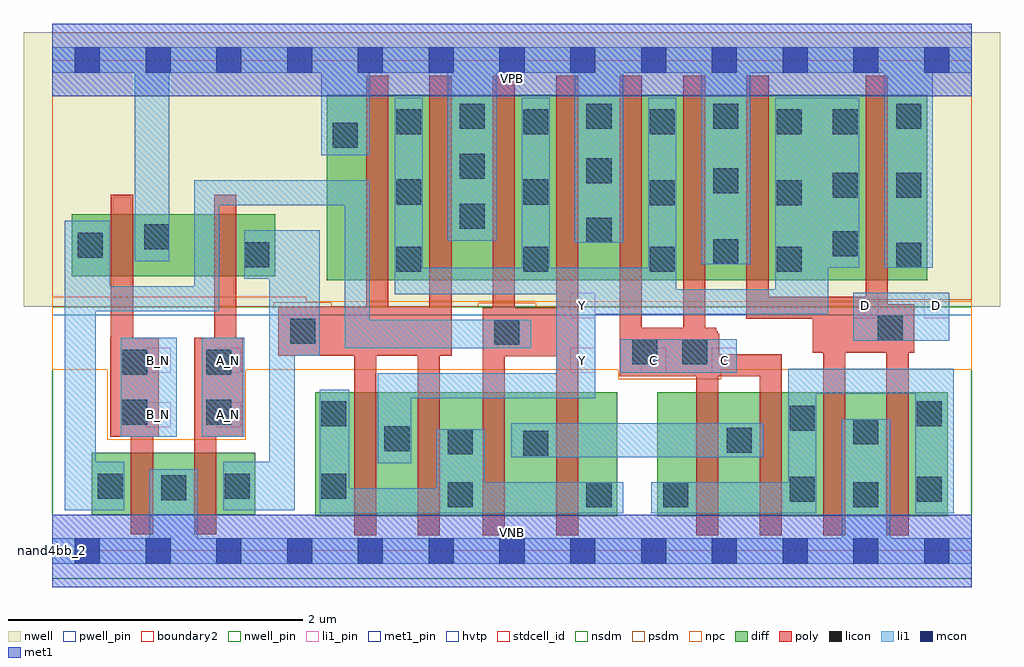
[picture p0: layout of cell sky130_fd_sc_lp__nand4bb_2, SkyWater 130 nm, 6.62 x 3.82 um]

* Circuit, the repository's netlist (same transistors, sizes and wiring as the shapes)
* Copyright 2020 The SkyWater PDK Authors
*
* Licensed under the Apache License, Version 2.0 (the "License");
* you may not use this file except in compliance with the License.
* You may obtain a copy of the License at
*
*     https://www.apache.org/licenses/LICENSE-2.0
*
* Unless required by applicable law or agreed to in writing, software
* distributed under the License is distributed on an "AS IS" BASIS,
* WITHOUT WARRANTIES OR CONDITIONS OF ANY KIND, either express or implied.
* See the License for the specific language governing permissions and
* limitations under the License.
*
* SPDX-License-Identifier: Apache-2.0

.SUBCKT sky130_fd_sc_lp__nand4bb_2 A_N B_N C D VGND VNB VPB VPWR Y
*.PININFO A_N:I B_N:I C:I D:I VGND:I VNB:I VPB:I VPWR:I Y:O
MMP0 Y A VPWR VPB sky130_fd_pr__pfet_01v8_hvt m=2 w=1.26U l=0.15U mult=1 sa=0.265
+ sb=0.265 sd=0.28 area=0.063 perim=1.14
MMP1 Y B VPWR VPB sky130_fd_pr__pfet_01v8_hvt m=2 w=1.26U l=0.15U mult=1 sa=0.265
+ sb=0.265 sd=0.28 area=0.063 perim=1.14
MMP2 Y C VPWR VPB sky130_fd_pr__pfet_01v8_hvt m=2 w=1.26U l=0.15U mult=1 sa=0.265
+ sb=0.265 sd=0.28 area=0.063 perim=1.14
MMP3 Y D VPWR VPB sky130_fd_pr__pfet_01v8_hvt m=2 w=1.26U l=0.15U mult=1 sa=0.265
+ sb=0.265 sd=0.28 area=0.063 perim=1.14
MMIP0 A A_N VPWR VPB sky130_fd_pr__pfet_01v8_hvt m=1 w=0.42U l=0.15U mult=1 sa=0.265
+ sb=0.265 sd=0.28 area=0.063 perim=1.14
MMIP1 B B_N VPWR VPB sky130_fd_pr__pfet_01v8_hvt m=1 w=0.42U l=0.15U mult=1 sa=0.265
+ sb=0.265 sd=0.28 area=0.063 perim=1.14
MMN0 Y A sndA VNB sky130_fd_pr__nfet_01v8 m=2 w=0.84U l=0.15U mult=1 sa=0.265 sb=0.265
+ sd=0.28 area=0.063 perim=1.14
MMN1 sndA B sndB VNB sky130_fd_pr__nfet_01v8 m=2 w=0.84U l=0.15U mult=1 sa=0.265
+ sb=0.265 sd=0.28 area=0.063 perim=1.14
MMN2 sndB C sndC VNB sky130_fd_pr__nfet_01v8 m=2 w=0.84U l=0.15U mult=1 sa=0.265
+ sb=0.265 sd=0.28 area=0.063 perim=1.14
MMN3 sndC D VGND VNB sky130_fd_pr__nfet_01v8 m=2 w=0.84U l=0.15U mult=1 sa=0.265
+ sb=0.265 sd=0.28 area=0.063 perim=1.14
MMIN0 A A_N VGND VNB sky130_fd_pr__nfet_01v8 m=1 w=0.42U l=0.15U mult=1 sa=0.265
+ sb=0.265 sd=0.28 area=0.063 perim=1.14
MMIN1 B B_N VGND VNB sky130_fd_pr__nfet_01v8 m=1 w=0.42U l=0.15U mult=1 sa=0.265
+ sb=0.265 sd=0.28 area=0.063 perim=1.14
.ENDS sky130_fd_sc_lp__nand4bb_2

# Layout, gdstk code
import gdstk
lib = gdstk.Library(unit=1e-6, precision=1e-09)
def R(c, l, rs):  # rectangles x0, y0, x1, y1
    for r in rs: c.add(gdstk.rectangle(r[:2], r[2:], *l))
def A(c, l, x, y, w, h, nx, ny, dx, dy):  # array of equal rectangles
    R(c, l, [(x+i*dx, y+j*dy, x+i*dx+w, y+j*dy+h) for i in range(nx) for j in range(ny)])
def P(c, l, *ps):  # polygons
    for p in ps: c.add(gdstk.Polygon(p, *l))
nwell_pin = (64, 16)
nwell = (64, 20)
diff = (65, 20)
poly = (66, 20)
licon = (66, 44)
li1_pin = (67, 16)
li1 = (67, 20)
mcon = (67, 44)
met1_pin = (68, 16)
met1 = (68, 20)
hvtp = (78, 44)
stdcell_id = (81, 4)
nsdm = (93, 44)
psdm = (94, 20)
npc = (95, 20)
pwell_pin = (122, 16)
boundary2 = (236, 0)

sky130_fd_sc_lp__nand4bb = lib.new_cell('sky130_fd_sc_lp__nand4bb_2')
R(sky130_fd_sc_lp__nand4bb, nwell_pin, [(0,3.085,6.24,3.33)])
R(sky130_fd_sc_lp__nand4bb, nwell, [(-0.19,1.655,6.43,3.52)])
R(sky130_fd_sc_lp__nand4bb, diff, [(1.785,0.235,3.835,1.075), (4.105,0.235,6.075,1.075), (0.27,0.245,1.38,0.665), (1.865,1.835,5.935,3.095), (0.135,1.865,1.515,2.285)])
P(sky130_fd_sc_lp__nand4bb, poly, [(0.725,1.445),(0.55,1.445),(0.55,2.415),(0.4,2.415),(0.4,1.445),(0.395,1.445),(0.395,0.775),(0.535,0.775),(0.535,0.115),(0.685,0.115),(0.685,0.775),(0.725,0.775)],
  [(1.295,1.445),(1.25,1.445),(1.25,2.415),(1.1,2.415),(1.1,1.445),(0.965,1.445),(0.965,0.115),(1.115,0.115),(1.115,0.775),(1.295,0.775)],
  [(2.71,3.225),(2.56,3.225),(2.56,1.655),(2.28,1.655),(2.28,3.225),(2.13,3.225),(2.13,1.655),(1.535,1.655),(1.535,1.325),(2.05,1.325),(2.05,0.105),(2.2,0.105),(2.2,1.325),(2.48,1.325),(2.48,0.105),(2.63,0.105),(2.63,1.325),(2.71,1.325)],
  [(3.57,3.225),(3.42,3.225),(3.42,1.65),(3.14,1.65),(3.14,3.225),(2.99,3.225),(2.99,1.65),(2.92,1.65),(2.92,0.105),(3.07,0.105),(3.07,1.32),(3.42,1.32),(3.42,0.105),(3.57,0.105)],
  [(4.95,1.335),(4.525,1.335),(4.525,1.475),(4.515,1.475),(4.515,1.49),(4.505,1.49),(4.505,1.515),(4.43,1.515),(4.43,3.225),(4.28,3.225),(4.28,1.515),(4,1.515),(4,3.225),(3.85,3.225),(3.85,1.185),(4.37,1.185),(4.37,0.105),(4.52,0.105),(4.52,1.185),(4.8,1.185),(4.8,0.105),(4.95,0.105)],
  [(5.85,1.675),(5.67,1.675),(5.67,3.225),(5.52,3.225),(5.52,1.725),(4.86,1.725),(4.86,3.225),(4.71,3.225),(4.71,1.575),(5.16,1.575),(5.16,1.345),(5.23,1.345),(5.23,0.105),(5.38,0.105),(5.38,1.345),(5.66,1.345),(5.66,0.105),(5.81,0.105),(5.81,1.345),(5.85,1.345)])
A(sky130_fd_sc_lp__nand4bb, licon, 2.335, 1.895, 0.17, 0.17, 4, 2, 0.86, 0.93)
A(sky130_fd_sc_lp__nand4bb, licon, 2.765, 2.865, 0.17, 0.17, 3, 1, 0.86, 0)
R(sky130_fd_sc_lp__nand4bb, licon, [(2.685,0.295,2.855,0.465), (3.625,0.295,3.795,0.465), (4.145,0.295,4.315,0.465), (5.435,0.295,5.605,0.465), (5.005,0.335,5.175,0.505), (5.865,0.335,6.035,0.505), (0.74,0.345,0.91,0.515), (0.31,0.355,0.48,0.525), (1.17,0.355,1.34,0.525), (1.825,0.355,1.995,0.525), (3.195,0.645,3.365,0.815), (2.685,0.655,2.855,0.825), (4.575,0.665,4.745,0.835), (2.255,0.675,2.425,0.845), (5.435,0.725,5.605,0.895), (5.005,0.815,5.175,0.985), (1.825,0.845,1.995,1.015), (5.865,0.845,6.035,1.015), (0.475,0.855,0.645,1.025), (1.045,0.855,1.215,1.025), (0.475,1.195,0.645,1.365), (1.045,1.195,1.215,1.365), (3.935,1.265,4.105,1.435), (4.275,1.265,4.445,1.435), (3,1.4,3.17,1.57), (1.615,1.405,1.785,1.575), (5.6,1.425,5.77,1.595), (5.725,1.92,5.895,2.09), (1.305,1.925,1.475,2.095), (4.485,1.945,4.655,2.115), (0.175,1.99,0.345,2.16), (5.295,2,5.465,2.17), (0.625,2.045,0.795,2.215), (3.625,2.09,3.795,2.26), (2.765,2.185,2.935,2.355), (4.055,2.345,4.225,2.515), (4.915,2.345,5.085,2.515), (2.335,2.35,2.505,2.52), (3.195,2.35,3.365,2.52), (5.295,2.395,5.465,2.565), (5.725,2.395,5.895,2.565), (4.485,2.425,4.655,2.595), (3.625,2.495,3.795,2.665), (2.765,2.525,2.935,2.695), (1.905,2.735,2.075,2.905), (5.295,2.825,5.465,2.995), (5.725,2.865,5.895,3.035)])
A(sky130_fd_sc_lp__nand4bb, li1_pin, 3.515, 1.21, 0.17, 0.17, 3, 1, 0.48, 0)
R(sky130_fd_sc_lp__nand4bb, li1_pin, [(0.635,0.84,0.805,1.01), (1.115,0.84,1.285,1.01), (0.635,1.21,0.805,1.38), (1.115,1.21,1.285,1.38), (3.515,1.58,3.685,1.75), (5.435,1.58,5.605,1.75), (5.915,1.58,6.085,1.75)])
R(sky130_fd_sc_lp__nand4bb, li1, [(3.115,0.635,4.825,0.865), (0.465,0.775,0.845,1.445), (1.015,0.775,1.305,1.445), (3.855,1.21,4.645,1.435), (5.435,1.425,6.085,1.75)])
P(sky130_fd_sc_lp__nand4bb, li1, [(5.645,1.92),(5.645,3.245),(4.735,3.245),(4.735,1.945),(4.405,1.945),(4.405,3.245),(3.875,3.245),(3.875,2.09),(3.545,2.09),(3.545,3.245),(3.015,3.245),(3.015,2.105),(2.685,2.105),(2.685,3.245),(2.155,3.245),(2.155,2.685),(1.825,2.685),(1.825,3.245),(0.795,3.245),(0.795,1.965),(0.56,1.965),(0.56,3.245),(0,3.245),(0,3.415),(6.24,3.415),(6.24,3.245),(5.975,3.245),(5.975,1.92)],
  [(0.66,0.085),(0.66,0.555),(0.99,0.555),(0.99,0.085),(5.355,0.085),(5.355,0.895),(5.685,0.895),(5.685,0.085),(6.24,0.085),(6.24,-0.085),(0,-0.085),(0,0.085)],
  [(1.985,1.375),(1.985,2.345),(1.135,2.345),(1.135,1.625),(0.295,1.625),(0.295,0.605),(0.49,0.605),(0.49,0.275),(0.085,0.275),(0.085,2.24),(0.39,2.24),(0.39,1.795),(0.965,1.795),(0.965,2.515),(2.155,2.515),(2.155,1.57),(3.25,1.57),(3.25,1.375)],
  [(5.475,3.075),(4.905,3.075),(4.905,1.775),(4.235,1.775),(4.235,3.075),(4.045,3.075),(4.045,1.92),(3.375,1.92),(3.375,3.075),(3.185,3.075),(3.185,1.92),(2.515,1.92),(2.515,3.075),(2.325,3.075),(2.325,1.74),(3.42,1.74),(3.42,1.205),(2.21,1.205),(2.21,0.595),(2.435,0.595),(2.435,1.035),(3.685,1.035),(3.685,1.605),(5.265,1.605),(5.265,1.92),(5.475,1.92)],
  [(1.815,1.325),(1.645,1.325),(1.645,0.275),(1.16,0.275),(1.16,0.605),(1.475,0.605),(1.475,1.845),(1.305,1.845),(1.305,2.175),(1.815,2.175)],
  [(5.855,1.065),(5.185,1.065),(5.185,0.255),(4.065,0.255),(4.065,0.465),(4.995,0.465),(4.995,1.235),(6.115,1.235),(6.115,0.255),(5.855,0.255)],
  [(2.015,0.425),(2.605,0.425),(2.605,0.825),(2.935,0.825),(2.935,0.465),(3.875,0.465),(3.875,0.255),(1.815,0.255),(1.815,1.095),(2.015,1.095)])
A(sky130_fd_sc_lp__nand4bb, mcon, 0.155, -0.085, 0.17, 0.17, 13, 2, 0.48, 3.33)
R(sky130_fd_sc_lp__nand4bb, met1_pin, [(0,0,6.24,0.245), (0,3.085,6.24,3.33)])
R(sky130_fd_sc_lp__nand4bb, met1, [(0,-0.245,6.24,0.245), (0,3.085,6.24,3.575)])
R(sky130_fd_sc_lp__nand4bb, hvtp, [(0,1.6,6.24,3.33)])
R(sky130_fd_sc_lp__nand4bb, stdcell_id, [(0,0,6.24,3.33)])
R(sky130_fd_sc_lp__nand4bb, nsdm, [(0,-0.19,6.24,1.655)])
P(sky130_fd_sc_lp__nand4bb, psdm, [(6.24,3.52),(0,3.52),(0,1.655),(1.505,1.655),(1.505,1.685),(1.895,1.685),(1.895,1.655),(2.89,1.655),(2.89,1.68),(3.28,1.68),(3.28,1.655),(5.49,1.655),(5.49,1.705),(6.24,1.705)])
P(sky130_fd_sc_lp__nand4bb, npc, [(6.24,1.695),(1.725,1.695),(1.725,1.725),(0,1.725),(0,1.23),(0.375,1.23),(0.375,0.755),(1.315,0.755),(1.315,1.23),(3.84,1.23),(3.84,1.165),(4.54,1.165),(4.54,1.23),(6.24,1.23)])
R(sky130_fd_sc_lp__nand4bb, pwell_pin, [(0,0,6.24,0.245)])
R(sky130_fd_sc_lp__nand4bb, boundary2, [(0,0,6.24,3.33)])
sky130_fd_sc_lp__nand4bb.add(gdstk.Label('VNB', (3.12,0.123), layer=64, texttype=59))
sky130_fd_sc_lp__nand4bb.add(gdstk.Label('VPB', (3.12,3.208), layer=64, texttype=5))
sky130_fd_sc_lp__nand4bb.add(gdstk.Label('nand4bb_2', (0,0), layer=83, texttype=44))
sky130_fd_sc_lp__nand4bb.add(gdstk.Label('VPWR', (3.12,3.208), layer=68, texttype=5))
sky130_fd_sc_lp__nand4bb.add(gdstk.Label('VGND', (3.12,0.123), layer=68, texttype=5))
sky130_fd_sc_lp__nand4bb.add(gdstk.Label('C', (4.08,1.295), layer=67, texttype=5))
sky130_fd_sc_lp__nand4bb.add(gdstk.Label('C', (4.56,1.295), layer=67, texttype=5))
sky130_fd_sc_lp__nand4bb.add(gdstk.Label('D', (5.52,1.665), layer=67, texttype=5))
sky130_fd_sc_lp__nand4bb.add(gdstk.Label('D', (6,1.665), layer=67, texttype=5))
sky130_fd_sc_lp__nand4bb.add(gdstk.Label('A_N', (1.2,0.925), layer=67, texttype=5))
sky130_fd_sc_lp__nand4bb.add(gdstk.Label('A_N', (1.2,1.295), layer=67, texttype=5))
sky130_fd_sc_lp__nand4bb.add(gdstk.Label('B_N', (0.72,0.925), layer=67, texttype=5))
sky130_fd_sc_lp__nand4bb.add(gdstk.Label('B_N', (0.72,1.295), layer=67, texttype=5))
sky130_fd_sc_lp__nand4bb.add(gdstk.Label('Y', (3.6,1.295), layer=67, texttype=5))
sky130_fd_sc_lp__nand4bb.add(gdstk.Label('Y', (3.6,1.665), layer=67, texttype=5))

lib.write_gds('sky130_fd_sc_lp__nand4bb_2.gds')
